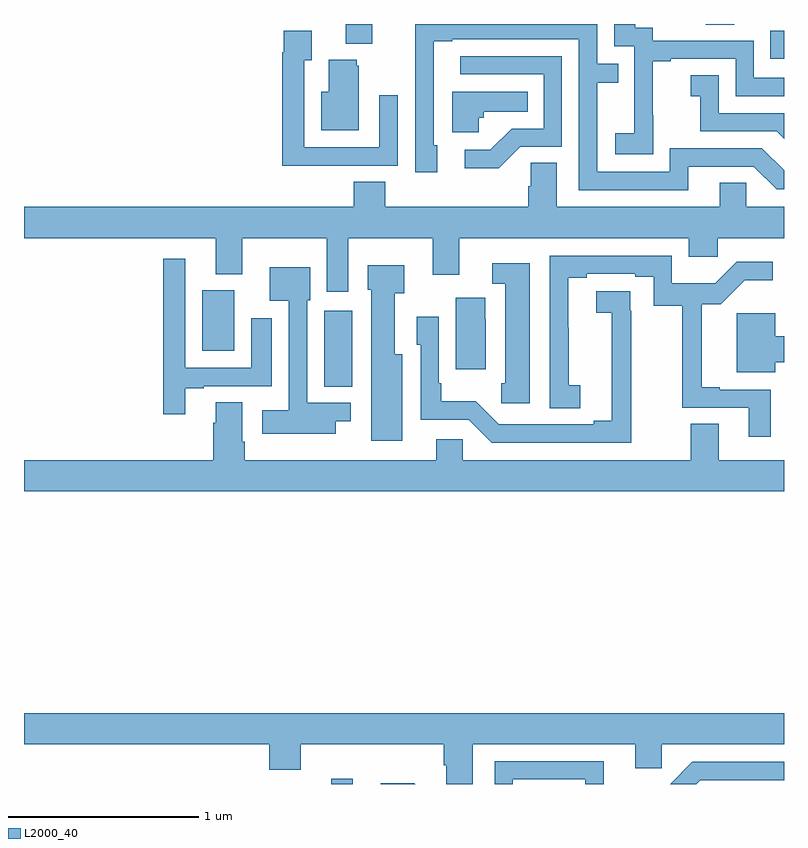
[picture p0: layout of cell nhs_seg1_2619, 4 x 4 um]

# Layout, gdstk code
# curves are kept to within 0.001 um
import gdstk
lib = gdstk.Library(unit=1e-6, precision=1e-09)
def R(c, l, rs):  # rectangles x0, y0, x1, y1
    for r in rs: c.add(gdstk.rectangle(r[:2], r[2:], *l))
def P(c, l, *ps):  # polygons
    for p in ps: c.add(gdstk.Polygon(p, *l))
L2000_40 = (2000, 40)

nhs_seg1_2619 = lib.new_cell('nhs_seg1_2619')
R(nhs_seg1_2619, L2000_40, [(254.616,542.199,254.731,542.227), (254.579,544.291,254.728,544.69), (253.937,544.478,254.107,544.798), (256.927,546.015,257,546.163), (254.693,546.095,254.833,546.199), (256.589,546.196,256.737,546.199)])
P(nhs_seg1_2619, L2000_40, [(256.311,545.719),(256.31,545.719),(256.31,546.003),(256.405,546.003),(256.405,546.015),(256.746,546.015),(256.746,545.82),(257,545.82),(257,545.916),(256.842,545.916),(256.842,546.111),(256.308,546.111),(256.308,546.18),(256.216,546.18),(256.216,546.199),(256.107,546.199),(256.107,546.081),(256.212,546.081),(256.212,545.852),(256.211,545.852),(256.211,545.623),(256.113,545.623),(256.113,545.513),(256.311,545.513)],
  [(256.495,545.448),(256.842,545.448),(256.962,545.328),(257,545.328),(257,545.428),(256.884,545.544),(256.398,545.544),(256.398,545.421),(256.017,545.421),(256.017,545.89),(256.127,545.89),(256.127,545.991),(256.017,545.991),(256.017,546.199),(255.058,546.199),(255.058,545.911),(255.06,545.911),(255.06,545.418),(255.175,545.418),(255.175,545.562),(255.156,545.562),(255.156,546.108),(255.253,546.108),(255.253,546.12),(255.921,546.12),(255.921,545.325),(256.495,545.325)],
  [(254.651,545.454),(254.967,545.454),(254.967,545.824),(254.871,545.824),(254.871,545.55),(254.475,545.55),(254.475,546.007),(254.515,546.007),(254.515,546.163),(254.367,546.163),(254.367,546.05),(254.359,546.05),(254.359,545.453),(254.651,545.453)],
  [(255.612,545.553),(255.831,545.553),(255.831,546.03),(255.297,546.03),(255.297,545.934),(255.735,545.934),(255.735,545.649),(255.566,545.649),(255.455,545.538),(255.321,545.538),(255.321,545.441),(255.499,545.441)],
  [(254.761,545.979),(254.75,545.979),(254.75,546.01),(254.603,546.01),(254.603,545.842),(254.564,545.842),(254.564,545.639),(254.761,545.639)],
  [(257,545.728),(256.998,545.73),(256.656,545.73),(256.656,545.929),(256.509,545.929),(256.509,545.819),(256.558,545.819),(256.558,545.634),(256.961,545.634),(257,545.595)],
  [(255.393,545.706),(255.42,545.706),(255.42,545.738),(255.65,545.738),(255.65,545.842),(255.254,545.842),(255.254,545.63),(255.393,545.63)],
  [(254.707,545.072),(255.152,545.072),(255.152,544.878),(255.292,544.878),(255.292,545.072),(256.499,545.072),(256.499,544.974),(256.651,544.974),(256.651,545.072),(257,545.072),(257,545.236),(256.8,545.236),(256.8,545.363),(256.661,545.363),(256.661,545.236),(255.805,545.236),(255.805,545.468),(255.666,545.468),(255.666,545.345),(255.653,545.345),(255.653,545.236),(254.9,545.236),(254.9,545.369),(254.735,545.369),(254.735,545.236),(253,545.236),(253,545.072),(254.009,545.072),(254.009,544.883),(254.149,544.883),(254.149,545.072),(254.594,545.072),(254.594,544.791),(254.707,544.791)],
  [(256.931,544.275),(256.663,544.275),(256.663,544.288),(256.568,544.288),(256.568,544.725),(256.667,544.725),(256.793,544.85),(256.942,544.85),(256.942,544.947),(256.752,544.947),(256.639,544.834),(256.41,544.834),(256.41,544.98),(255.768,544.98),(255.768,544.177),(255.928,544.177),(255.928,544.297),(255.867,544.297),(255.867,544.601),(255.865,544.601),(255.865,544.864),(255.961,544.864),(255.961,544.884),(256.217,544.884),(256.217,544.87),(256.314,544.87),(256.314,544.717),(256.465,544.717),(256.465,544.179),(256.814,544.179),(256.814,544.026),(256.931,544.026)],
  [(253.849,544.281),(253.945,544.281),(253.945,544.293),(254.305,544.293),(254.305,544.651),(254.195,544.651),(254.195,544.389),(253.848,544.389),(253.848,544.963),(253.732,544.963),(253.732,544.146),(253.849,544.146)],
  [(255.661,544.939),(255.465,544.939),(255.465,544.831),(255.533,544.831),(255.533,544.308),(255.511,544.308),(255.511,544.203),(255.661,544.203)],
  [(254.992,544.462),(254.95,544.462),(254.95,544.783),(255.001,544.783),(255.001,544.93),(254.81,544.93),(254.81,544.8),(254.828,544.8),(254.828,544.005),(254.992,544.005)],
  [(254.641,544.109),(254.719,544.109),(254.719,544.206),(254.49,544.206),(254.49,544.746),(254.506,544.746),(254.506,544.918),(254.294,544.918),(254.294,544.742),(254.394,544.742),(254.394,544.165),(254.253,544.165),(254.253,544.043),(254.641,544.043)],
  [(256.196,544.691),(256.19,544.691),(256.19,544.793),(256.011,544.793),(256.011,544.678),(256.093,544.678),(256.094,544.112),(255.998,544.112),(255.998,544.092),(255.498,544.092),(255.377,544.213),(255.196,544.213),(255.196,544.309),(255.183,544.309),(255.183,544.657),(255.066,544.657),(255.066,544.512),(255.087,544.512),(255.087,544.116),(255.342,544.116),(255.462,543.996),(256.196,543.996)],
  [(255.43,544.646),(255.428,544.646),(255.428,544.759),(255.272,544.759),(255.272,544.383),(255.43,544.383)],
  [(256.954,544.42),(257,544.42),(257,544.556),(256.954,544.556),(256.954,544.677),(256.751,544.677),(256.751,544.367),(256.954,544.367)],
  [(257,543.904),(256.657,543.904),(256.657,544.094),(256.51,544.094),(256.51,543.904),(255.309,543.904),(255.309,544.014),(255.17,544.014),(255.17,543.904),(254.162,543.904),(254.162,544),(254.149,544),(254.149,544.208),(254.009,544.208),(254.009,544.1),(253.997,544.1),(253.997,543.904),(253,543.904),(253,543.74),(257,543.74)],
  [(255.361,542.408),(256.217,542.408),(256.217,542.281),(256.356,542.281),(256.356,542.408),(257,542.408),(257,542.572),(253,542.572),(253,542.408),(254.291,542.408),(254.291,542.275),(254.456,542.275),(254.456,542.408),(255.209,542.408),(255.209,542.299),(255.222,542.299),(255.222,542.199),(255.361,542.199)],
  [(255.573,542.223),(255.954,542.223),(255.954,542.199),(256.051,542.199),(256.051,542.319),(255.477,542.319),(255.477,542.199),(255.573,542.199)],
  [(256.56,542.22),(257,542.22),(257,542.316),(256.518,542.316),(256.401,542.199),(256.539,542.199)],
  [(255.055,542.204),(254.877,542.204),(254.877,542.199),(255.06,542.199)])

lib.write_gds('nhs_seg1_2619.gds')
